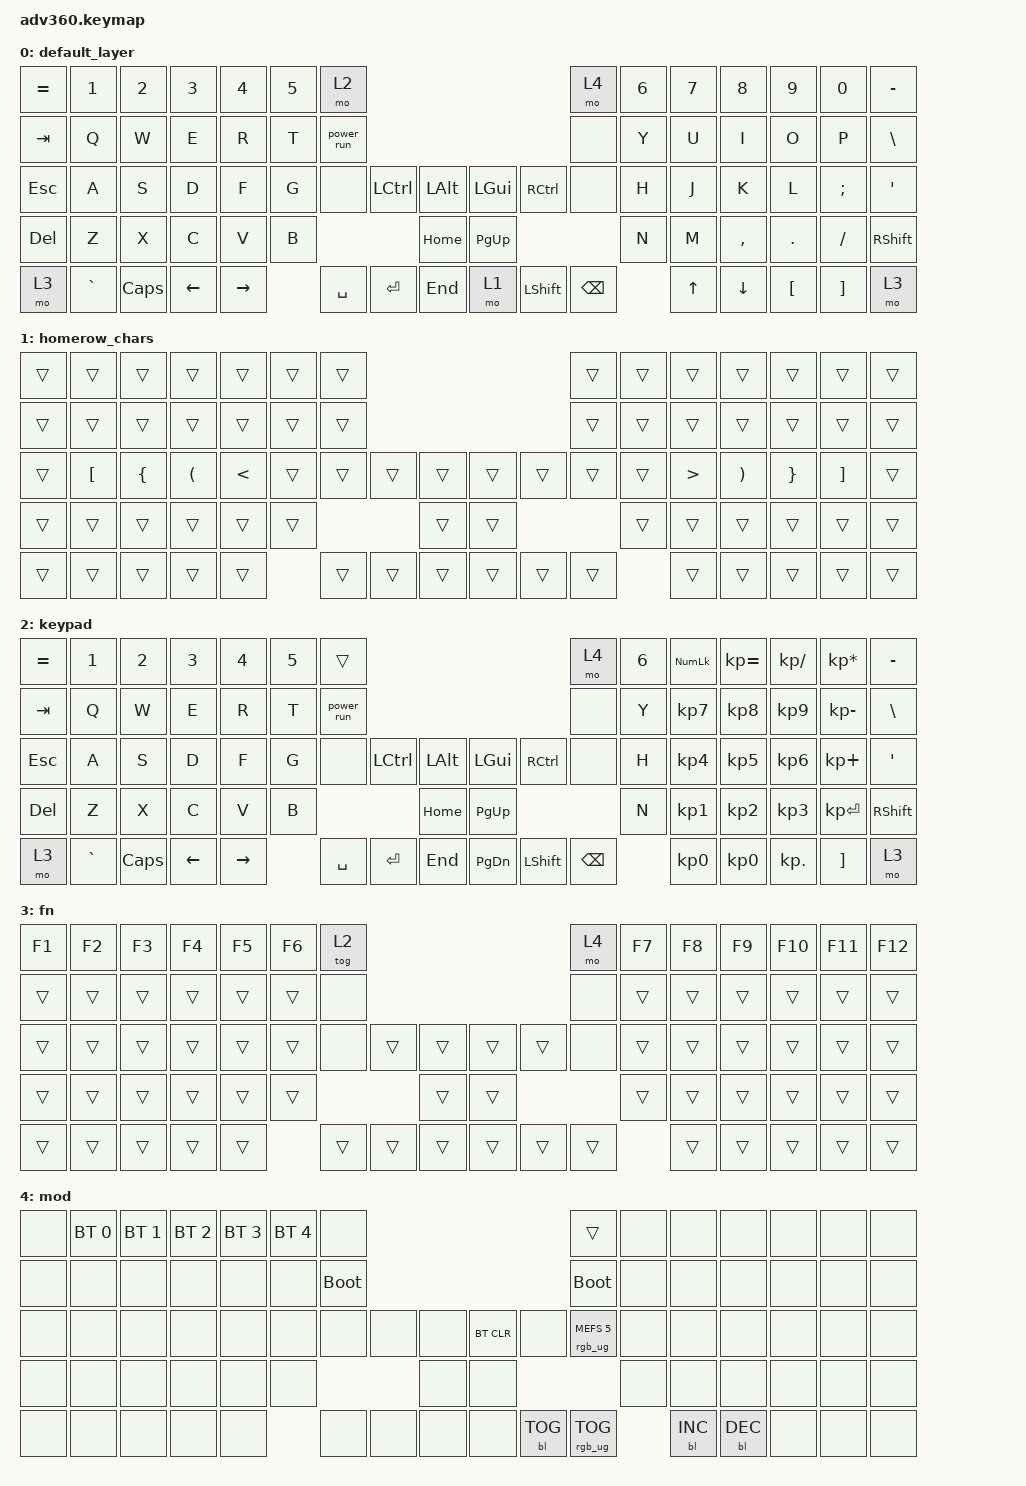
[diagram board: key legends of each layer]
#include <behaviors.dtsi>
#include <dt-bindings/zmk/backlight.h>
#include <dt-bindings/zmk/bt.h>
#include <dt-bindings/zmk/keys.h>
#include <dt-bindings/zmk/rgb.h>

/ {
    behaviors {
        #include "macros.dtsi"
      #include "version.dtsi"

        hm: homerow_mods {
            compatible = "zmk,behavior-hold-tap";
            label = "HOMEROW_MODS";
            #binding-cells = <2>;
            tapping-term-ms = <200>;
            quick_tap_ms = <175>;
            flavor = "tap-preferred";
            bindings = <&kp>, <&kp>;
        };
    };

    macros {
        power_run: power_run {
            compatible = "zmk,behavior-macro";
            #binding-cells = <0>;
            bindings =
                <&macro_press>,
                <&kp LALT>,
                <&macro_tap>,
                <&kp SPACE>,
                <&macro_release>,
                <&kp LALT>;
        };
    };

    keymap {
        compatible = "zmk,keymap";

        default_layer {
            bindings = <
&kp EQUAL   &kp N1     &kp N2    &kp N3    &kp N4     &kp N5  &mo 2                                                           &mo 4          &kp N6  &kp N7  &kp N8     &kp N9    &kp N0    &kp MINUS
&kp TAB     &kp Q      &kp W     &kp E     &kp R      &kp T   &power_run                                                      &none          &kp Y   &kp U   &kp I      &kp O     &kp P     &kp BSLH
&kp ESC     &kp A      &kp S     &kp D     &kp F      &kp G   &none       &kp LCTRL  &kp LALT      &kp LGUI   &kp RCTRL       &none          &kp H   &kp J   &kp K      &kp L     &kp SEMI  &kp SQT
&kp DELETE  &kp Z      &kp X     &kp C     &kp V      &kp B                          &kp HOME      &kp PG_UP                                 &kp N   &kp M   &kp COMMA  &kp DOT   &kp FSLH  &kp RSHFT
&mo 3       &kp GRAVE  &kp CAPS  &kp LEFT  &kp RIGHT          &kp SPACE   &kp ENTER  &kp END       &mo 1      &kp LEFT_SHIFT  &kp BACKSPACE          &kp UP  &kp DOWN   &kp LBKT  &kp RBKT  &mo 3
            >;
        };

        homerow_chars {
            bindings = <
&trans  &trans            &trans          &trans                &trans         &trans  &trans                                      &trans  &trans  &trans            &trans                 &trans           &trans             &trans
&trans  &trans            &trans          &trans                &trans         &trans  &trans                                      &trans  &trans  &trans            &trans                 &trans           &trans             &trans
&trans  &kp LEFT_BRACKET  &kp LEFT_BRACE  &kp LEFT_PARENTHESIS  &kp LESS_THAN  &trans  &trans  &trans  &trans      &trans  &trans  &trans  &trans  &kp GREATER_THAN  &kp RIGHT_PARENTHESIS  &kp RIGHT_BRACE  &kp RIGHT_BRACKET  &trans
&trans  &trans            &trans          &trans                &trans         &trans                  &trans      &trans                  &trans  &trans            &trans                 &trans           &trans             &trans
&trans  &trans            &trans          &trans                &trans                 &trans  &trans  &trans      &trans  &trans  &trans          &trans            &trans                 &trans           &trans             &trans
            >;
        };

        keypad {
            bindings = <
&kp EQUAL   &kp N1     &kp N2    &kp N3    &kp N4     &kp N5  &trans                                                          &mo 4          &kp N6  &kp KP_NUM  &kp KP_EQUAL  &kp KP_DIVIDE  &kp KP_MULTIPLY  &kp MINUS
&kp TAB     &kp Q      &kp W     &kp E     &kp R      &kp T   &power_run                                                      &none          &kp Y   &kp KP_N7   &kp KP_N8     &kp KP_N9      &kp KP_MINUS     &kp BSLH
&kp ESC     &kp A      &kp S     &kp D     &kp F      &kp G   &none       &kp LCTRL  &kp LALT      &kp LGUI   &kp RCTRL       &none          &kp H   &kp KP_N4   &kp KP_N5     &kp KP_N6      &kp KP_PLUS      &kp SQT
&kp DELETE  &kp Z      &kp X     &kp C     &kp V      &kp B                          &kp HOME      &kp PG_UP                                 &kp N   &kp KP_N1   &kp KP_N2     &kp KP_N3      &kp KP_ENTER     &kp RSHFT
&mo 3       &kp GRAVE  &kp CAPS  &kp LEFT  &kp RIGHT          &kp SPACE   &kp ENTER  &kp END       &kp PG_DN  &kp LEFT_SHIFT  &kp BACKSPACE          &kp KP_N0   &kp KP_N0     &kp KP_DOT     &kp RBKT         &mo 3
            >;
        };

        fn {
            bindings = <
&kp F1  &kp F2  &kp F3  &kp F4  &kp F5  &kp F6  &tog 2                                      &mo 4   &kp F7  &kp F8  &kp F9  &kp F10  &kp F11  &kp F12
&trans  &trans  &trans  &trans  &trans  &trans  &none                                       &none   &trans  &trans  &trans  &trans   &trans   &trans
&trans  &trans  &trans  &trans  &trans  &trans  &none   &trans  &trans      &trans  &trans  &none   &trans  &trans  &trans  &trans   &trans   &trans
&trans  &trans  &trans  &trans  &trans  &trans                  &trans      &trans                  &trans  &trans  &trans  &trans   &trans   &trans
&trans  &trans  &trans  &trans  &trans          &trans  &trans  &trans      &trans  &trans  &trans          &trans  &trans  &trans   &trans   &trans
            >;
        };

        mod {
            bindings = <
&none  &bt BT_SEL 0  &bt BT_SEL 1  &bt BT_SEL 2  &bt BT_SEL 3  &bt BT_SEL 4  &none                                                  &trans                  &none  &none       &none       &none  &none  &none
&none  &none         &none         &none         &none         &none         &bootloader                                            &bootloader             &none  &none       &none       &none  &none  &none
&none  &none         &none         &none         &none         &none         &none        &none  &none      &bt BT_CLR  &none       &rgb_ug RGB_MEFS_CMD 5  &none  &none       &none       &none  &none  &none
&none  &none         &none         &none         &none         &none                             &none      &none                                           &none  &none       &none       &none  &none  &none
&none  &none         &none         &none         &none                       &none        &none  &none      &none       &bl BL_TOG  &rgb_ug RGB_TOG                &bl BL_INC  &bl BL_DEC  &none  &none  &none
            >;
        };
    };
};
